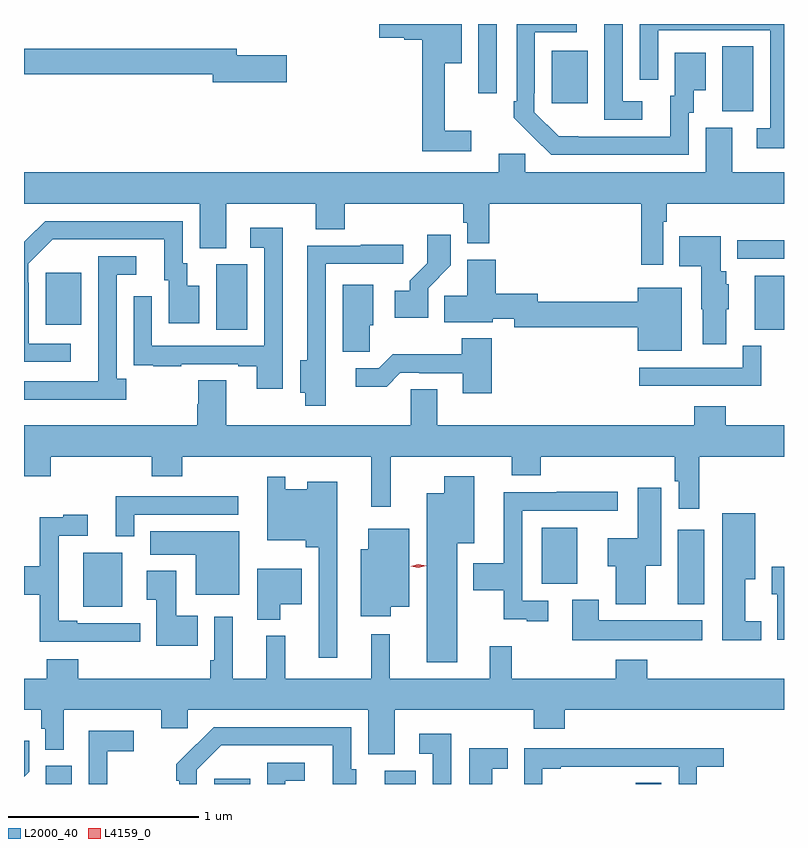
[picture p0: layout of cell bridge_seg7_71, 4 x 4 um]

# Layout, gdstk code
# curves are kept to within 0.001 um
import gdstk
lib = gdstk.Library(unit=1e-6, precision=1e-09)
def R(c, l, rs):  # rectangles x0, y0, x1, y1
    for r in rs: c.add(gdstk.rectangle(r[:2], r[2:], *l))
def P(c, l, *ps):  # polygons
    for p in ps: c.add(gdstk.Polygon(p, *l))
L2000_40 = (2000, 40)
L4159_0 = (4159, 0)

bridge_seg7_71 = lib.new_cell('bridge_seg7_71')
R(bridge_seg7_71, L2000_40, [(1053.575,1032.193,1053.712,1032.289), (1054.463,1032.193,1054.651,1032.22), (1055.36,1032.193,1055.524,1032.264), (1056.68,1032.193,1056.814,1032.2), (1053.773,1033.127,1053.979,1033.411), (1056.902,1033.139,1057.042,1033.531), (1056.185,1033.247,1056.373,1033.543), (1054.472,1034.584,1054.636,1034.928), (1057.307,1034.585,1057.461,1034.869), (1053.575,1034.609,1053.763,1034.884), (1057.136,1035.733,1057.3,1036.076), (1056.239,1035.777,1056.427,1036.051), (1055.853,1035.828,1055.949,1036.193)])
P(bridge_seg7_71, L2000_40, [(1055.815,1035.631),(1055.675,1035.631),(1055.675,1035.986),(1055.764,1035.986),(1055.764,1036.193),(1055.33,1036.193),(1055.33,1036.121),(1055.463,1036.121),(1055.463,1036.109),(1055.557,1036.109),(1055.557,1035.522),(1055.815,1035.522)],
  [(1057.461,1036.193),(1056.703,1036.193),(1056.703,1036.154),(1056.702,1036.154),(1056.702,1035.9),(1056.798,1035.9),(1056.798,1036.161),(1057.389,1036.161),(1057.389,1035.645),(1057.317,1035.645),(1057.317,1035.54),(1057.461,1035.54)],
  [(1056.96,1035.726),(1056.985,1035.726),(1056.985,1035.845),(1057.048,1035.845),(1057.048,1036.042),(1056.887,1036.042),(1056.887,1035.816),(1056.863,1035.816),(1056.863,1035.6),(1056.276,1035.601),(1056.147,1035.729),(1056.147,1035.829),(1056.15,1035.829),(1056.15,1036.149),(1056.37,1036.149),(1056.37,1036.193),(1056.054,1036.193),(1056.054,1035.787),(1056.039,1035.787),(1056.039,1035.699),(1056.236,1035.504),(1056.96,1035.504)],
  [(1056.715,1035.786),(1056.612,1035.786),(1056.612,1036.193),(1056.515,1036.193),(1056.515,1036.147),(1056.516,1036.147),(1056.516,1035.69),(1056.715,1035.69)],
  [(1054.843,1036.028),(1054.582,1036.028),(1054.582,1036.064),(1053.461,1036.064),(1053.461,1035.928),(1054.454,1035.928),(1054.454,1035.886),(1054.843,1035.886)],
  [(1056.825,1035.152),(1056.845,1035.152),(1056.845,1035.248),(1057.461,1035.248),(1057.461,1035.412),(1057.189,1035.412),(1057.189,1035.648),(1057.049,1035.648),(1057.049,1035.412),(1056.099,1035.412),(1056.099,1035.51),(1055.96,1035.51),(1055.96,1035.412),(1053.461,1035.412),(1053.461,1035.248),(1054.385,1035.248),(1054.385,1035.013),(1054.525,1035.013),(1054.525,1035.248),(1054.997,1035.248),(1054.997,1035.112),(1055.15,1035.112),(1055.15,1035.248),(1055.773,1035.248),(1055.773,1035.147),(1055.793,1035.147),(1055.793,1035.038),(1055.909,1035.038),(1055.909,1035.248),(1056.709,1035.248),(1056.709,1034.925),(1056.825,1034.925)],
  [(1053.706,1034.511),(1053.486,1034.511),(1053.486,1034.831),(1053.483,1034.831),(1053.483,1034.931),(1053.612,1035.06),(1054.199,1035.06),(1054.199,1034.844),(1054.223,1034.844),(1054.223,1034.619),(1054.384,1034.619),(1054.384,1034.815),(1054.321,1034.815),(1054.321,1034.934),(1054.296,1034.934),(1054.296,1035.156),(1053.572,1035.156),(1053.481,1035.065),(1053.48,1035.066),(1053.461,1035.047),(1053.461,1034.415),(1053.706,1034.415)],
  [(1054.822,1035.121),(1054.653,1035.121),(1054.653,1035.015),(1054.725,1035.015),(1054.725,1034.499),(1054.134,1034.499),(1054.134,1034.761),(1054.038,1034.761),(1054.038,1034.506),(1054.039,1034.506),(1054.039,1034.397),(1054.141,1034.397),(1054.141,1034.391),(1054.289,1034.391),(1054.289,1034.403),(1054.589,1034.403),(1054.589,1034.391),(1054.685,1034.391),(1054.685,1034.274),(1054.822,1034.274)],
  [(1055.589,1034.803),(1055.708,1034.922),(1055.708,1035.085),(1055.583,1035.085),(1055.583,1034.933),(1055.492,1034.843),(1055.492,1034.788),(1055.412,1034.788),(1055.412,1034.648),(1055.589,1034.648)],
  [(1057.156,1034.691),(1057.171,1034.691),(1057.171,1034.823),(1057.156,1034.823),(1057.156,1034.892),(1057.129,1034.892),(1057.129,1035.076),(1056.91,1035.076),(1056.91,1034.918),(1057.025,1034.918),(1057.025,1034.691),(1057.034,1034.691),(1057.034,1034.507),(1057.156,1034.507)],
  [(1057.461,1035.054),(1057.457,1035.054),(1057.457,1035.055),(1057.215,1035.055),(1057.215,1034.958),(1057.461,1034.958)],
  [(1055.05,1034.406),(1055.049,1034.406),(1055.049,1034.931),(1055.458,1034.931),(1055.458,1035.03),(1055.233,1035.03),(1055.233,1035.027),(1054.952,1035.027),(1054.952,1034.423),(1054.916,1034.423),(1054.916,1034.252),(1054.941,1034.252),(1054.941,1034.184),(1055.05,1034.184)],
  [(1054,1034.326),(1053.948,1034.326),(1053.948,1034.874),(1054.051,1034.874),(1054.051,1034.97),(1053.852,1034.97),(1053.852,1034.513),(1053.851,1034.513),(1053.851,1034.313),(1053.461,1034.313),(1053.461,1034.216),(1054,1034.216)],
  [(1056.922,1034.806),(1056.692,1034.806),(1056.692,1034.732),(1056.166,1034.732),(1056.166,1034.772),(1055.945,1034.772),(1055.945,1034.953),(1055.795,1034.953),(1055.795,1034.762),(1055.674,1034.762),(1055.674,1034.624),(1055.928,1034.624),(1055.928,1034.642),(1056.042,1034.642),(1056.042,1034.596),(1056.692,1034.596),(1056.692,1034.474),(1056.922,1034.474)],
  [(1055.28,1034.607),(1055.299,1034.607),(1055.299,1034.821),(1055.138,1034.821),(1055.138,1034.467),(1055.28,1034.467)],
  [(1055.924,1034.539),(1055.764,1034.539),(1055.764,1034.455),(1055.401,1034.455),(1055.328,1034.382),(1055.208,1034.382),(1055.208,1034.285),(1055.369,1034.285),(1055.442,1034.358),(1055.542,1034.358),(1055.542,1034.355),(1055.771,1034.355),(1055.771,1034.25),(1055.924,1034.25)],
  [(1057.342,1034.5),(1057.245,1034.5),(1057.245,1034.385),(1056.699,1034.385),(1056.699,1034.289),(1057.342,1034.289)],
  [(1055.635,1034.27),(1055.496,1034.27),(1055.496,1034.08),(1054.525,1034.08),(1054.525,1034.318),(1054.378,1034.318),(1054.378,1034.193),(1054.373,1034.193),(1054.373,1034.08),(1053.461,1034.08),(1053.461,1033.814),(1053.602,1033.814),(1053.602,1033.916),(1054.133,1033.916),(1054.133,1033.814),(1054.293,1033.814),(1054.293,1033.916),(1055.288,1033.916),(1055.288,1033.653),(1055.39,1033.653),(1055.39,1033.916),(1056.029,1033.916),(1056.029,1033.817),(1056.182,1033.817),(1056.182,1033.916),(1056.887,1033.916),(1056.887,1033.787),(1056.906,1033.787),(1056.906,1033.641),(1057.015,1033.641),(1057.015,1033.916),(1057.461,1033.916),(1057.461,1034.08),(1057.154,1034.08),(1057.154,1034.182),(1056.989,1034.182),(1056.989,1034.08),(1055.635,1034.08)],
  [(1055.74,1033.46),(1055.83,1033.46),(1055.83,1033.813),(1055.672,1033.813),(1055.672,1033.723),(1055.582,1033.723),(1055.582,1032.834),(1055.74,1032.834)],
  [(1055.109,1033.543),(1055.11,1033.543),(1055.11,1033.783),(1054.952,1033.783),(1054.952,1033.744),(1054.836,1033.744),(1054.836,1033.81),(1054.74,1033.81),(1054.74,1033.475),(1054.945,1033.475),(1054.945,1033.439),(1055.013,1033.439),(1055.013,1032.858),(1055.109,1032.858)],
  [(1056.733,1033.343),(1056.814,1033.343),(1056.814,1033.753),(1056.692,1033.753),(1056.692,1033.486),(1056.533,1033.486),(1056.533,1033.339),(1056.575,1033.339),(1056.575,1033.139),(1056.733,1033.139)],
  [(1056.22,1033.158),(1056.084,1033.158),(1056.084,1033.632),(1056.586,1033.632),(1056.586,1033.73),(1056.265,1033.73),(1056.265,1033.728),(1055.987,1033.728),(1055.987,1033.354),(1055.825,1033.354),(1055.825,1033.214),(1055.986,1033.214),(1055.986,1033.061),(1056.106,1033.061),(1056.106,1033.05),(1056.22,1033.05)],
  [(1054.041,1033.611),(1054.588,1033.611),(1054.588,1033.707),(1053.944,1033.707),(1053.944,1033.496),(1054.041,1033.496)],
  [(1057.34,1033.05),(1057.258,1033.05),(1057.258,1033.271),(1057.309,1033.271),(1057.309,1033.618),(1057.136,1033.618),(1057.136,1032.95),(1057.34,1032.95)],
  [(1054.072,1033.038),(1053.742,1033.038),(1053.742,1033.051),(1053.645,1033.051),(1053.645,1033.5),(1053.796,1033.5),(1053.796,1033.609),(1053.668,1033.609),(1053.668,1033.598),(1053.544,1033.598),(1053.544,1033.338),(1053.461,1033.338),(1053.461,1033.19),(1053.544,1033.19),(1053.544,1032.942),(1053.829,1032.942),(1053.829,1032.941),(1054.072,1032.941)],
  [(1055.392,1033.127),(1055.488,1033.127),(1055.488,1033.537),(1055.273,1033.537),(1055.273,1033.429),(1055.234,1033.429),(1055.234,1033.077),(1055.392,1033.077)],
  [(1054.594,1033.522),(1054.126,1033.522),(1054.126,1033.4),(1054.364,1033.4),(1054.364,1033.19),(1054.594,1033.19)],
  [(1057.461,1033.336),(1057.397,1033.336),(1057.397,1033.191),(1057.425,1033.191),(1057.425,1032.951),(1057.461,1032.951)],
  [(1054.81,1033.139),(1054.924,1033.139),(1054.924,1033.327),(1054.688,1033.327),(1054.688,1033.058),(1054.81,1033.058)],
  [(1054.376,1033.078),(1054.261,1033.078),(1054.261,1033.315),(1054.107,1033.315),(1054.107,1033.162),(1054.157,1033.162),(1054.157,1032.92),(1054.376,1032.92)],
  [(1057.03,1033.054),(1056.487,1033.054),(1056.487,1033.162),(1056.347,1033.162),(1056.347,1032.95),(1057.03,1032.95)],
  [(1055.413,1032.584),(1056.143,1032.584),(1056.143,1032.485),(1056.308,1032.485),(1056.308,1032.584),(1057.461,1032.584),(1057.461,1032.748),(1056.74,1032.748),(1056.74,1032.847),(1056.575,1032.847),(1056.575,1032.748),(1056.029,1032.748),(1056.029,1032.919),(1055.912,1032.919),(1055.912,1032.748),(1055.387,1032.748),(1055.387,1032.982),(1055.288,1032.982),(1055.288,1032.748),(1054.835,1032.748),(1054.835,1032.973),(1054.736,1032.973),(1054.736,1032.748),(1054.559,1032.748),(1054.559,1033.072),(1054.461,1033.072),(1054.461,1032.844),(1054.441,1032.844),(1054.441,1032.748),(1053.746,1032.748),(1053.746,1032.85),(1053.581,1032.85),(1053.581,1032.748),(1053.461,1032.748),(1053.461,1032.584),(1053.553,1032.584),(1053.553,1032.483),(1053.573,1032.483),(1053.573,1032.374),(1053.67,1032.374),(1053.67,1032.584),(1054.184,1032.584),(1054.184,1032.486),(1054.323,1032.486),(1054.323,1032.584),(1055.273,1032.584),(1055.273,1032.349),(1055.413,1032.349)],
  [(1054.371,1032.267),(1054.5,1032.396),(1055.087,1032.396),(1055.087,1032.193),(1055.209,1032.193),(1055.209,1032.27),(1055.184,1032.27),(1055.184,1032.492),(1054.46,1032.492),(1054.263,1032.297),(1054.263,1032.209),(1054.278,1032.209),(1054.278,1032.193),(1054.371,1032.193)],
  [(1053.899,1032.366),(1054.039,1032.366),(1054.039,1032.474),(1053.801,1032.474),(1053.801,1032.193),(1053.899,1032.193)],
  [(1055.709,1032.457),(1055.541,1032.457),(1055.541,1032.351),(1055.613,1032.351),(1055.613,1032.193),(1055.709,1032.193)],
  [(1053.488,1032.258),(1053.488,1032.421),(1053.461,1032.421),(1053.461,1032.231)],
  [(1056.189,1032.273),(1056.286,1032.273),(1056.286,1032.285),(1056.906,1032.285),(1056.906,1032.193),(1057.002,1032.193),(1057.002,1032.285),(1057.144,1032.285),(1057.144,1032.382),(1056.391,1032.382),(1056.391,1032.381),(1056.093,1032.381),(1056.093,1032.193),(1056.189,1032.193)],
  [(1055.926,1032.273),(1056.008,1032.273),(1056.008,1032.382),(1055.804,1032.382),(1055.804,1032.193),(1055.926,1032.193)],
  [(1054.836,1032.21),(1054.939,1032.21),(1054.939,1032.306),(1054.74,1032.306),(1054.74,1032.193),(1054.836,1032.193)])
P(bridge_seg7_71, L4159_0, [(1055.537,1033.331),(1055.496,1033.339),(1055.496,1033.34),(1055.496,1033.34),(1055.537,1033.35),(1055.578,1033.342),(1055.578,1033.341),(1055.578,1033.341)])

lib.write_gds('bridge_seg7_71.gds')
